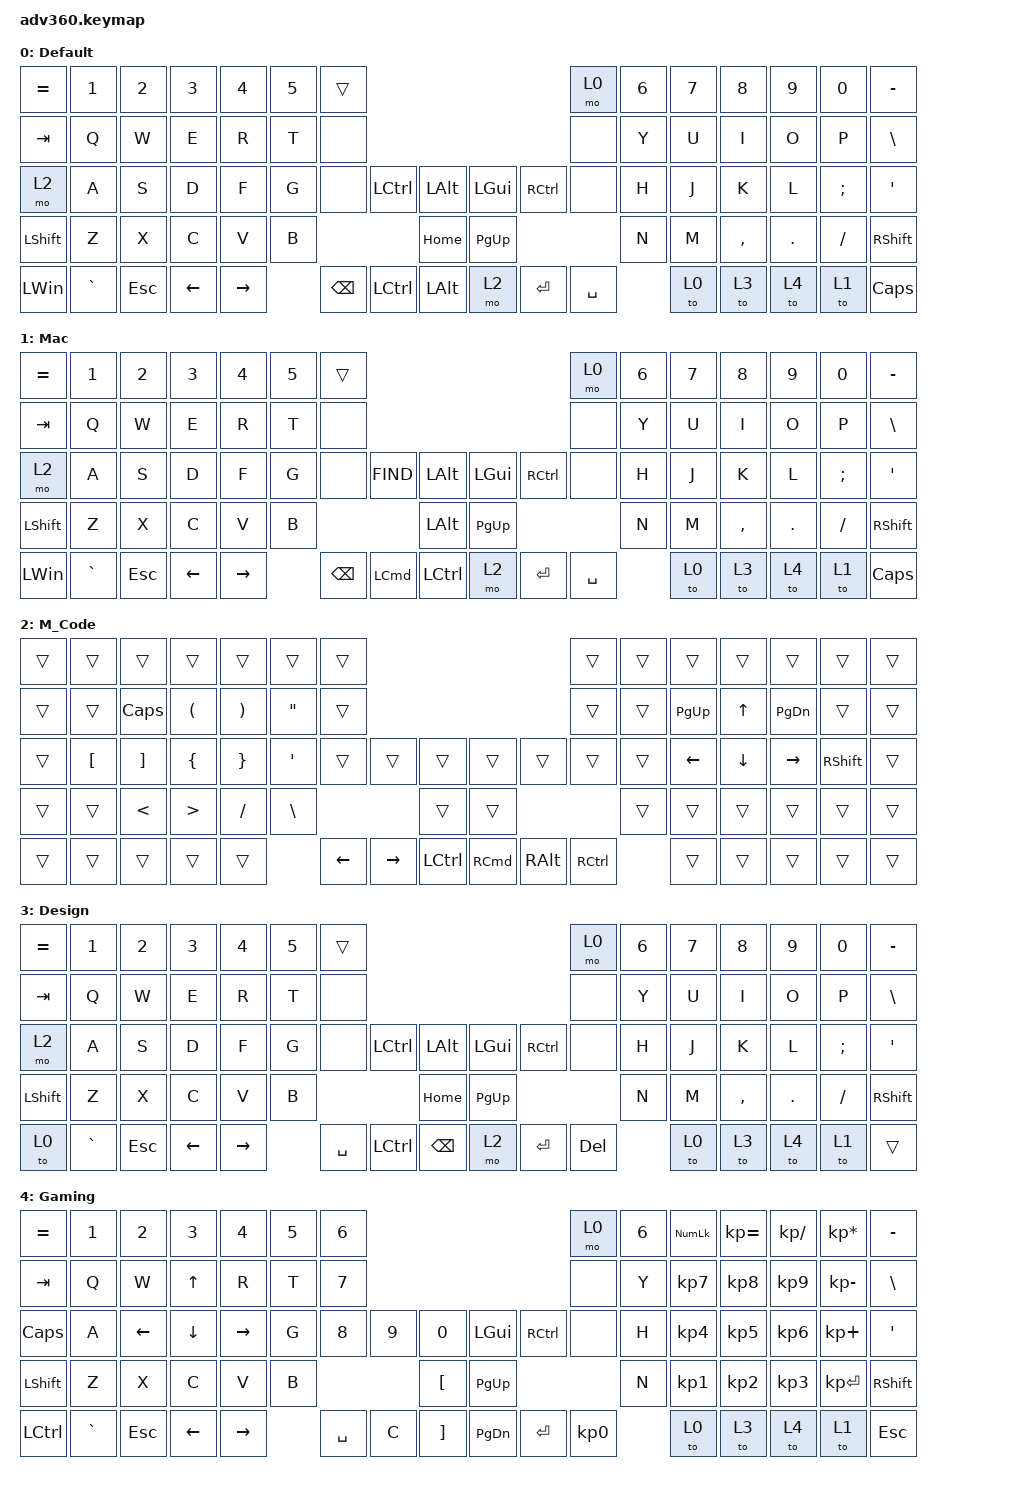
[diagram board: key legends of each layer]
#include <behaviors.dtsi>
#include <dt-bindings/zmk/keys.h>

/ {
    behaviors {
        #include "macros.dtsi"
      #include "version.dtsi"
      #ifndef VERSION_MACRO


        #endif

        hm: homerow_mods {
            compatible = "zmk,behavior-hold-tap";
            label = "HOMEROW_MODS";
            #binding-cells = <2>;
            tapping-term-ms = <200>;
            quick_tap_ms = <175>;
            flavor = "tap-preferred";
            bindings = <&kp>, <&kp>;
        };
    };

    keymap {
        compatible = "zmk,keymap";

        Default {
            bindings = <
&kp EQUAL     &kp N1     &kp N2   &kp N3    &kp N4     &kp N5  &trans                                                            &mo 0      &kp N6  &kp N7  &kp N8     &kp N9   &kp N0     &kp MINUS
&kp TAB       &kp Q      &kp W    &kp E     &kp R      &kp T   &none                                                             &none      &kp Y   &kp U   &kp I      &kp O    &kp P      &kp BSLH
&mo 2         &kp A      &kp S    &kp D     &kp F      &kp G   &none          &kp LCTRL  &kp LALT          &kp LGUI   &kp RCTRL  &none      &kp H   &kp J   &kp K      &kp L    &kp SEMI   &kp SQT
&kp LSHFT     &kp Z      &kp X    &kp C     &kp V      &kp B                             &kp HOME          &kp PG_UP                        &kp N   &kp M   &kp COMMA  &kp DOT  &kp SLASH  &kp RSHFT
&kp LEFT_WIN  &kp GRAVE  &kp ESC  &kp LEFT  &kp RIGHT          &kp BACKSPACE  &kp LCTRL  &kp LEFT_ALT      &mo 2      &kp ENTER  &kp SPACE          &to 0   &to 3      &to 4    &to 1      &kp CLCK
            >;
        };

        Mac {
            bindings = <
&kp EQUAL     &kp N1     &kp N2   &kp N3    &kp N4     &kp N5  &trans                                                                   &mo 0      &kp N6  &kp N7  &kp N8     &kp N9   &kp N0     &kp MINUS
&kp TAB       &kp Q      &kp W    &kp E     &kp R      &kp T   &none                                                                    &none      &kp Y   &kp U   &kp I      &kp O    &kp P      &kp BSLH
&mo 2         &kp A      &kp S    &kp D     &kp F      &kp G   &none          &kp K_FIND        &kp LALT          &kp LGUI   &kp RCTRL  &none      &kp H   &kp J   &kp K      &kp L    &kp SEMI   &kp SQT
&kp LSHFT     &kp Z      &kp X    &kp C     &kp V      &kp B                                    &kp LEFT_ALT      &kp PG_UP                        &kp N   &kp M   &kp COMMA  &kp DOT  &kp SLASH  &kp RSHFT
&kp LEFT_WIN  &kp GRAVE  &kp ESC  &kp LEFT  &kp RIGHT          &kp BACKSPACE  &kp LEFT_COMMAND  &kp LCTRL         &mo 2      &kp ENTER  &kp SPACE          &to 0   &to 3      &to 4    &to 1      &kp CLCK
            >;
        };

        M_Code {
            bindings = <
&trans  &trans            &trans             &trans                &trans                 &trans             &trans                                                                       &trans             &trans  &trans       &trans          &trans         &trans           &trans
&trans  &trans            &kp CLCK           &kp LEFT_PARENTHESIS  &kp RIGHT_PARENTHESIS  &kp DOUBLE_QUOTES  &trans                                                                       &trans             &trans  &kp PAGE_UP  &kp UP_ARROW    &kp PAGE_DOWN  &trans           &trans
&trans  &kp LEFT_BRACKET  &kp RIGHT_BRACKET  &kp LEFT_BRACE        &kp RIGHT_BRACE        &kp SINGLE_QUOTE   &trans    &trans     &trans                &trans             &trans         &trans             &trans  &kp LEFT     &kp DOWN_ARROW  &kp RIGHT      &kp RIGHT_SHIFT  &trans
&trans  &trans            &kp LESS_THAN      &kp GREATER_THAN      &kp SLASH              &kp BACKSLASH                           &trans                &trans                                               &trans  &trans       &trans          &trans         &trans           &trans
&trans  &trans            &trans             &trans                &trans                                    &kp LEFT  &kp RIGHT  &kp LEFT_CONTROL      &kp RIGHT_COMMAND  &kp RIGHT_ALT  &kp RIGHT_CONTROL          &trans       &trans          &trans         &trans           &trans
            >;
        };

        Design {
            bindings = <
&kp EQUAL  &kp N1     &kp N2   &kp N3    &kp N4     &kp N5  &trans                                                                &mo 0    &kp N6  &kp N7  &kp N8     &kp N9   &kp N0    &kp MINUS
&kp TAB    &kp Q      &kp W    &kp E     &kp R      &kp T   &none                                                                 &none    &kp Y   &kp U   &kp I      &kp O    &kp P     &kp BSLH
&mo 2      &kp A      &kp S    &kp D     &kp F      &kp G   &none      &kp LCTRL         &kp LALT           &kp LGUI   &kp RCTRL  &none    &kp H   &kp J   &kp K      &kp L    &kp SEMI  &kp SQT
&kp LSHFT  &kp Z      &kp X    &kp C     &kp V      &kp B                                &kp HOME           &kp PG_UP                      &kp N   &kp M   &kp COMMA  &kp DOT  &kp FSLH  &kp RSHFT
&to 0      &kp GRAVE  &kp ESC  &kp LEFT  &kp RIGHT          &kp SPACE  &kp LEFT_CONTROL  &kp BACKSPACE      &mo 2      &kp ENTER  &kp DEL          &to 0   &to 3      &to 4    &to 1     &trans
            >;
        };

        Gaming {
            bindings = <
&kp EQUAL  &kp N1     &kp N2    &kp N3        &kp N4     &kp N5  &kp NUMBER_6                                                       &mo 0      &kp N6  &kp KP_NUM  &kp KP_EQUAL  &kp KP_DIVIDE  &kp KP_MULTIPLY  &kp MINUS
&kp TAB    &kp Q      &kp W     &kp UP_ARROW  &kp R      &kp T   &kp N7                                                             &none      &kp Y   &kp KP_N7   &kp KP_N8     &kp KP_N9      &kp KP_MINUS     &kp BSLH
&kp CLCK   &kp A      &kp LEFT  &kp DOWN      &kp RIGHT  &kp G   &kp N8        &kp N9  &kp N0                 &kp LGUI   &kp RCTRL  &none      &kp H   &kp KP_N4   &kp KP_N5     &kp KP_N6      &kp KP_PLUS      &kp SQT
&kp LSHFT  &kp Z      &kp X     &kp C         &kp V      &kp B                         &kp LEFT_BRACKET       &kp PG_UP                        &kp N   &kp KP_N1   &kp KP_N2     &kp KP_N3      &kp KP_ENTER     &kp RSHFT
&kp LCTRL  &kp GRAVE  &kp ESC   &kp LEFT      &kp RIGHT          &kp SPACE     &kp C   &kp RIGHT_BRACKET      &kp PG_DN  &kp ENTER  &kp KP_N0          &to 0       &to 3         &to 4          &to 1            &kp ESCAPE
            >;
        };
    };
};
